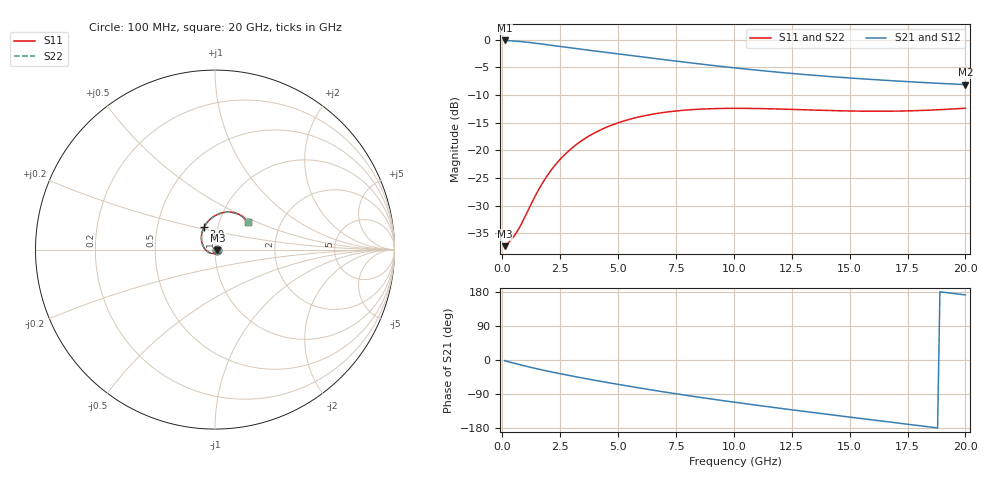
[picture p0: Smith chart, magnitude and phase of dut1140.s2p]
! Touchstone file exported from HFSS 2024.1.0
!  File:  C:/UserFiles/LocalFiles/RDL_TSV_Batchsim/temp_RDL_TSV_1140_1780114079.aedt
!  Generated:  12:19:55 PM May 30, 2026
!  Design:  RDL_TSV
!  Project:  temp_RDL_TSV_1140_1780114079
!  Setup:  Setup1
!  Solution:  Sweep
! Variables:
!  dtsv = 12.54um
!  hbump = 3um
!  htsv = 60.15um
!  ldown = 177.93um
!  lrdl = 575.63um
!  p = 40
!  p1 = 46.81um
!  rhole = 10um
!  subl = 2836.31um
!  t = 450um
!  tdown = 4.88um
!  trdl = 2.54um
!  viad = 10um
!  wdown = 22.28um
!  wrdl = 29.34um
!  xbump = 18um
# GHz S MA R 50.000000
! Terminal data exported
! Port[1] = TM1_1_T1
! Port[2] = TM1_4_T1
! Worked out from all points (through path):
!   200 points, 100 MHz to 20 GHz, reference 50 ohm
!   highest |S21| = -0.12 dB at 100 MHz (marker M1); lowest = -8.1 dB at 20 GHz (marker M2)
!   group delay of S21, straight-line fit = 24.8 ps
!   lowest |S11| = -37.4 dB at 100 MHz (marker M3), VSWR 1.03, Z = 51.4 - j0.254 ohm
!   |S11| at or under -10 dB: start of sweep to end of sweep
!   |S22| runs from -37.4 to -12.4 dB; largest |S21 - S12| = 1.1e-14
!   S11 on the Smith chart (normalised r, x): 100 MHz: 1.03, -0.01; 3.9 GHz: 0.86, +0.22; 20 GHz: 1.37, +0.45
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0.1  0.01356 -10.5  0.986 -1.7  0.986 -1.7  0.01356 -10.5
! Gamma 0 0 0 0
! Port Impedance 50 0 50 0
0.4  0.01565 -47.9  0.9788 -6.7  0.9788 -6.7  0.01566 -47.9
0.7  0.01928 -87.7  0.9679 -11.5  0.9679 -11.5  0.01929 -87.6
1.1  0.02823 -131.3  0.9491 -17.5  0.9491 -17.5  0.02822 -131.2
1.5  0.04144 -162.0  0.927 -23.2  0.927 -23.2  0.04137 -161.9
1.8  0.05312 -179.2  0.9096 -27.3  0.9096 -27.3  0.05301 -179.1
2.1  0.06565 166.8  0.8921 -31.2  0.8921 -31.2  0.06548 166.9
2.7  0.09157 145.1  0.8584 -38.6  0.8584 -38.6  0.09128 145.2
3.5  0.125 123.9  0.8166 -48.0  0.8166 -48.0  0.1246 123.9
3.9  0.1405 115.3  0.7968 -52.5  0.7968 -52.5  0.14 115.3
4.5  0.1617 104.1  0.7683 -59.0  0.7683 -59.0  0.161 104.2
5.2  0.1829 93.1  0.7364 -66.5  0.7364 -66.5  0.1822 93.1
6  0.2026 82.5  0.7016 -74.6  0.7016 -74.6  0.2017 82.5
6.8  0.2174 73.5  0.6686 -82.5  0.6686 -82.5  0.2165 73.6
8.4  0.2347 59.5  0.6086 -97.4  0.6086 -97.4  0.2336 59.5
10.1  0.2397 49.0  0.5549 -112.1  0.5549 -112.1  0.2386 49.0
11.7  0.2371 42.5  0.5135 -125.1  0.5135 -125.1  0.236 42.5
13.4  0.2313 38.5  0.478 -138.4  0.478 -138.4  0.2302 38.6
15  0.2267 37.2  0.451 -150.7  0.451 -150.7  0.2257 37.2
16.7  0.2257 37.5  0.4276 -163.5  0.4276 -163.5  0.2247 37.5
18.3  0.23 38.5  0.4092 -175.5  0.4092 -175.5  0.2291 38.6
20  0.2402 39.6  0.3925 171.7  0.3925 171.7  0.2394 39.6
